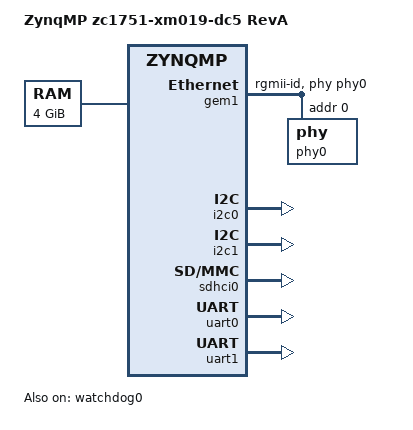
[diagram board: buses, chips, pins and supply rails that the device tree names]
/*
 * dts file for Xilinx ZynqMP zc1751-xm019-dc5
 *
 * (C) Copyright 2015, Xilinx, Inc.
 *
 * Siva Durga Prasad <siva.durga.paladugu@xilinx.com>
 * Michal Simek <michal.simek@xilinx.com>
 *
 * SPDX-License-Identifier:	GPL-2.0+
 */

/dts-v1/;

#include "zynqmp.dtsi"
#include "zynqmp-clk.dtsi"
/ {
	model = "ZynqMP zc1751-xm019-dc5 RevA";
	compatible = "xlnx,zynqmp-zc1751", "xlnx,zynqmp";

	aliases {
		ethernet0 = &gem1;
		gpio0 = &gpio;
		i2c0 = &i2c0;
		i2c1 = &i2c1;
		mmc0 = &sdhci0;
		serial0 = &uart0;
		serial1 = &uart1;
	};

	chosen {
		bootargs = "earlycon=cdns,mmio,0xff000000,115200n8";
		stdout-path = "serial0:115200n8";
	};

	memory {
		device_type = "memory";
		reg = <0x0 0x0 0x0 0x80000000>, <0x8 0x00000000 0x0 0x80000000>;
	};
};

/* fpd_dma clk 667MHz, lpd_dma 500MHz */
&fpd_dma_chan1 {
	status = "okay";
	xlnx,include-sg; /* for testing purpose */
	xlnx,overfetch; /* for testing purpose */
	xlnx,ratectrl = <0>; /* for testing purpose */
	xlnx,src-issue = <31>;
};

&fpd_dma_chan2 {
	status = "okay";
	xlnx,ratectrl = <100>; /* for testing purpose */
	xlnx,src-issue = <4>; /* for testing purpose */
};

&fpd_dma_chan3 {
	status = "okay";
};

&fpd_dma_chan4 {
	status = "okay";
	xlnx,include-sg; /* for testing purpose */
};

&fpd_dma_chan5 {
	status = "okay";
};

&fpd_dma_chan6 {
	status = "okay";
	xlnx,include-sg; /* for testing purpose */
};

&fpd_dma_chan7 {
	status = "okay";
};

&fpd_dma_chan8 {
	status = "okay";
	xlnx,include-sg; /* for testing purpose */
};

&gem1 {
	status = "okay";
	local-mac-address = [00 0a 35 00 02 90];
	phy-handle = <&phy0>;
	phy-mode = "rgmii-id";
	phy0: phy@0 {
		reg = <0>;
	};
};

&gpio {
	status = "okay";
};

/* FIXME: Add device */
&i2c0 {
	status = "okay";
};

/* FIXME: Add device */
&i2c1 {
	status = "okay";
};

&sdhci0 {
	status = "okay";
};

&uart0 {
	status = "okay";
};

&uart1 {
	status = "okay";
};

&watchdog0 {
	status = "okay";
};
